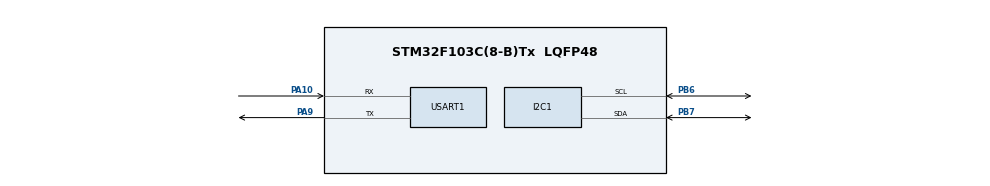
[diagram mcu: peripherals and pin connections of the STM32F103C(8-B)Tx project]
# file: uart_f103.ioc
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Mcu.Family=STM32F1
Mcu.Name=STM32F103C(8-B)Tx
Mcu.Package=LQFP48
NVIC.PriorityGroup=NVIC_PRIORITYGROUP_4
NVIC.USART1_IRQn=true\:0\:0\:false\:false\:true\:true\:true\:true
PA10.Mode=Asynchronous
PA10.Signal=USART1_RX
PA9.Mode=Asynchronous
PA9.Signal=USART1_TX
PB6.Mode=I2C
PB6.Signal=I2C1_SCL
PB7.Mode=I2C
PB7.Signal=I2C1_SDA
ProjectManager.HeapSize=0x200
ProjectManager.StackSize=0x400
ProjectManager.TargetToolchain=STM32CubeIDE
RCC.APB1Freq_Value=8000000
RCC.APB2Freq_Value=8000000
USART1.VirtualMode=VM_ASYNC
board=custom

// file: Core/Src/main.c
/* USER CODE BEGIN Header */
/**
  ******************************************************************************
  * @file           : main.c
  * @brief          : Main program body
  ******************************************************************************
  * @attention
  *
  * Copyright (c) 2023 STMicroelectronics.
  * All rights reserved.
  *
  * This software is licensed under terms that can be found in the LICENSE file
  * in the root directory of this software component.
  * If no LICENSE file comes with this software, it is provided AS-IS.
  *
  ******************************************************************************
  */
/* USER CODE END Header */
#include "main.h"

/* USER CODE BEGIN Includes */
#include <stdio.h>
/* USER CODE END Includes */

/* USER CODE BEGIN PTD */
//****************************************************************************
/* Implementation of putchar (also used by printf function to output data) */

/* USER CODE END PTD */

I2C_HandleTypeDef hi2c1;

UART_HandleTypeDef huart1;

/* USER CODE BEGIN PV */
//#define PUTCHAR_PROTOTYPE int __io_putchar(int ch)

/* USER CODE END PV */

void SystemClock_Config(void);
static void MX_GPIO_Init(void);
static void MX_USART1_UART_Init(void);
static void MX_I2C1_Init(void);

/* USER CODE BEGIN 0 */

uint8_t Buffer[25] = {0};
uint8_t Space[] = " - ";
uint8_t StartMSG[] = "Starting I2C Scanning: \r\n";
uint8_t EndMSG[] = "Done! \r\n\r\n";

// redirect printf to UART
int _write(int fd, char* ptr, int len) {
    HAL_UART_Transmit(&huart1, (uint8_t *) ptr, len, HAL_MAX_DELAY);
    return len;
}
#include <stdarg.h>

int my_fprintf(FILE *stream, const char *format, ...) {
	va_list	listp;
	va_start(listp, format);
	int ret =  vprintf(format, listp);
	va_end(listp);
	return ret;
}

#define fprintf my_fprintf

uint8_t Rx_data[2];
volatile uint8_t FLAG_RECEIVED = 0;

void HAL_UART_RxCpltCallback(UART_HandleTypeDef *huart)
{
	HAL_UART_Receive_IT(&huart1, Rx_data, 1);
	FLAG_RECEIVED = 1;
}

void scan_i2c_address() {

	uint8_t i=0, ret;

    /*-[ I2C Bus Scanning ]-*/
    fprintf(stdout, "%s", StartMSG);
    for(i=1; i<128; i++)
    {
        ret = HAL_I2C_IsDeviceReady(&hi2c1, (uint16_t)(i<<1), 3, 5);
        if (ret != HAL_OK) /* No ACK Received At That Address */
        {
      	  fprintf(stdout, "%s", Space);
        }
        else if(ret == HAL_OK)
        {
            sprintf(Buffer, "0x%X", i);
            fprintf(stdout, "%s", Buffer);
        }

        if (i % 16 == 0) {
        	fprintf(stdout, "\n\r");
        }
    }
    fprintf(stdout, "%s", EndMSG);
    /*--[ Scanning Done ]--*/
}

/* USER CODE END 0 */

int main(void)
{

  /* MCU Configuration--------------------------------------------------------*/

  /* Reset of all peripherals, Initializes the Flash interface and the Systick. */
  HAL_Init();

  /* Configure the system clock */
  SystemClock_Config();

  /* Initialize all configured peripherals */
  MX_GPIO_Init();
  MX_USART1_UART_Init();
  MX_I2C1_Init();
  /* USER CODE BEGIN 2 */

//  uint8_t i = 0, ret;

//  uint8_t test_data[12] = "Test";
//  printf("Starting program\n\r");
//  printf("Starting program %s\n\r", test_data);

  HAL_UART_Receive_IT(&huart1, Rx_data, 1);

  /* USER CODE END 2 */

  /* Infinite loop */
  while (1)
  {

    /* USER CODE BEGIN 3 */
	  if (FLAG_RECEIVED == 1 && Rx_data[0] == '1') {

//		  HAL_UART_Transmit(&huart1, Rx_data, sizeof(Rx_data), 1200);
		  scan_i2c_address();
		  FLAG_RECEIVED = 0;
		  HAL_Delay(1000);

	  }

  }
  /* USER CODE END 3 */
}

void SystemClock_Config(void)
{
  RCC_OscInitTypeDef RCC_OscInitStruct = {0};
  RCC_ClkInitTypeDef RCC_ClkInitStruct = {0};

  /** Initializes the RCC Oscillators according to the specified parameters
  * in the RCC_OscInitTypeDef structure.
  */
  RCC_OscInitStruct.OscillatorType = RCC_OSCILLATORTYPE_HSI;
  RCC_OscInitStruct.HSIState = RCC_HSI_ON;
  RCC_OscInitStruct.HSICalibrationValue = RCC_HSICALIBRATION_DEFAULT;
  RCC_OscInitStruct.PLL.PLLState = RCC_PLL_NONE;
  if (HAL_RCC_OscConfig(&RCC_OscInitStruct) != HAL_OK)
  {
    Error_Handler();
  }

  /** Initializes the CPU, AHB and APB buses clocks
  */
  RCC_ClkInitStruct.ClockType = RCC_CLOCKTYPE_HCLK|RCC_CLOCKTYPE_SYSCLK
                              |RCC_CLOCKTYPE_PCLK1|RCC_CLOCKTYPE_PCLK2;
  RCC_ClkInitStruct.SYSCLKSource = RCC_SYSCLKSOURCE_HSI;
  RCC_ClkInitStruct.AHBCLKDivider = RCC_SYSCLK_DIV1;
  RCC_ClkInitStruct.APB1CLKDivider = RCC_HCLK_DIV1;
  RCC_ClkInitStruct.APB2CLKDivider = RCC_HCLK_DIV1;

  if (HAL_RCC_ClockConfig(&RCC_ClkInitStruct, FLASH_LATENCY_0) != HAL_OK)
  {
    Error_Handler();
  }
}

static void MX_I2C1_Init(void)
{

  hi2c1.Instance = I2C1;
  hi2c1.Init.ClockSpeed = 100000;
  hi2c1.Init.DutyCycle = I2C_DUTYCYCLE_2;
  hi2c1.Init.OwnAddress1 = 0;
  hi2c1.Init.AddressingMode = I2C_ADDRESSINGMODE_7BIT;
  hi2c1.Init.DualAddressMode = I2C_DUALADDRESS_DISABLE;
  hi2c1.Init.OwnAddress2 = 0;
  hi2c1.Init.GeneralCallMode = I2C_GENERALCALL_DISABLE;
  hi2c1.Init.NoStretchMode = I2C_NOSTRETCH_DISABLE;
  if (HAL_I2C_Init(&hi2c1) != HAL_OK)
  {
    Error_Handler();
  }

}

static void MX_USART1_UART_Init(void)
{

  huart1.Instance = USART1;
  huart1.Init.BaudRate = 115200;
  huart1.Init.WordLength = UART_WORDLENGTH_8B;
  huart1.Init.StopBits = UART_STOPBITS_1;
  huart1.Init.Parity = UART_PARITY_NONE;
  huart1.Init.Mode = UART_MODE_TX_RX;
  huart1.Init.HwFlowCtl = UART_HWCONTROL_NONE;
  huart1.Init.OverSampling = UART_OVERSAMPLING_16;
  if (HAL_UART_Init(&huart1) != HAL_OK)
  {
    Error_Handler();
  }
  /* USER CODE BEGIN USART1_Init 2 */
//  USART1->CR1 |= USART_CR1_RXNEIE | USART_CR1_TXEIE; // enable RX/TX interrupt

  /* USER CODE END USART1_Init 2 */

}

static void MX_GPIO_Init(void)
{

  /* GPIO Ports Clock Enable */
  __HAL_RCC_GPIOA_CLK_ENABLE();
  __HAL_RCC_GPIOB_CLK_ENABLE();

}

/* USER CODE BEGIN 4 */

/**
  * @brief  Retargets the C library printf function to the USART.
  * @param  None
  * @retval None
  */
//PUTCHAR_PROTOTYPE
//{
//  /* Place your implementation of fputc here */
//  /* e.g. write a character to the USART1 and Loop until the end of transmission */
//  HAL_UART_Transmit(&huart1, (uint8_t *)&ch, 1, 0xFFFF);
//
//  return ch;
//}

/* USER CODE END 4 */

void Error_Handler(void)
{
  __disable_irq();
  while (1)
  {
  }
}
